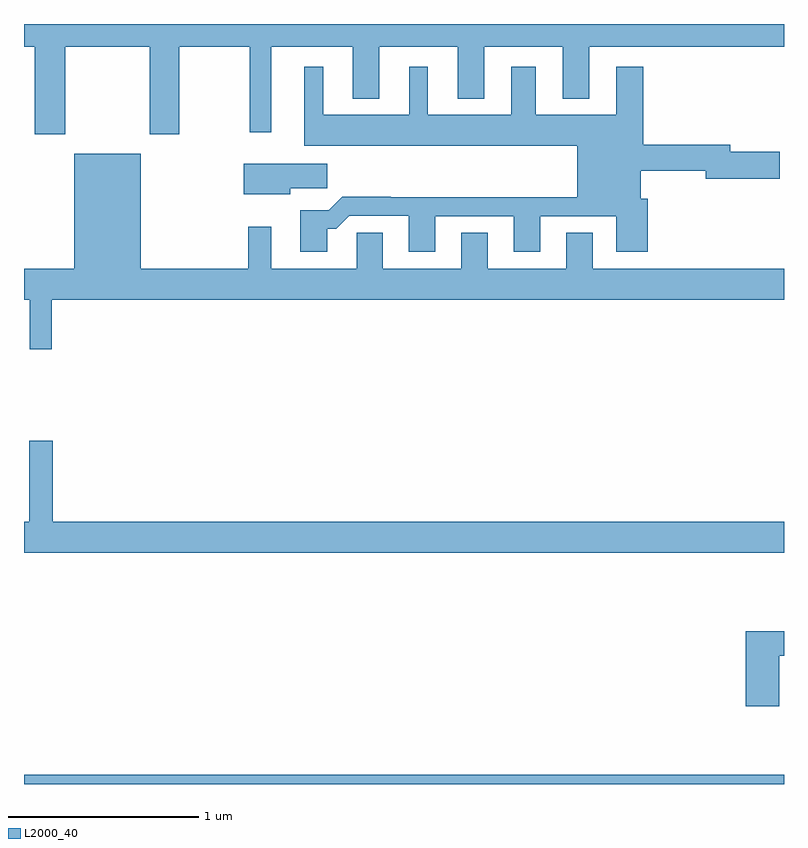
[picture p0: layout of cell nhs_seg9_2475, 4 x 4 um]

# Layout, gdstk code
import gdstk
lib = gdstk.Library(unit=1e-6, precision=1e-09)
def R(c, l, rs):  # rectangles x0, y0, x1, y1
    for r in rs: c.add(gdstk.rectangle(r[:2], r[2:], *l))
def P(c, l, *ps):  # polygons
    for p in ps: c.add(gdstk.Polygon(p, *l))
L2000_40 = (2000, 40)

nhs_seg9_2475 = lib.new_cell('nhs_seg9_2475')
R(nhs_seg9_2475, L2000_40, [(251,1232.5,255,1232.548)])
P(nhs_seg9_2475, L2000_40, [(251.217,1236.38),(251.662,1236.38),(251.662,1235.919),(251.817,1235.919),(251.817,1236.38),(252.187,1236.38),(252.187,1235.931),(252.301,1235.931),(252.301,1236.38),(252.731,1236.38),(252.731,1236.107),(252.871,1236.107),(252.871,1236.38),(253.283,1236.38),(253.283,1236.107),(253.423,1236.107),(253.423,1236.38),(253.835,1236.38),(253.835,1236.107),(253.975,1236.107),(253.975,1236.38),(255,1236.38),(255,1236.5),(251,1236.5),(251,1236.38),(251.057,1236.38),(251.057,1235.919),(251.217,1235.919)],
  [(252.595,1235.423),(252.644,1235.423),(252.711,1235.49),(253.025,1235.49),(253.025,1235.301),(253.165,1235.301),(253.165,1235.487),(253.577,1235.487),(253.577,1235.301),(253.717,1235.301),(253.717,1235.487),(254.117,1235.487),(254.117,1235.301),(254.282,1235.301),(254.282,1235.58),(254.245,1235.58),(254.245,1235.728),(254.588,1235.728),(254.588,1235.686),(254.977,1235.686),(254.977,1235.828),(254.716,1235.828),(254.716,1235.864),(254.258,1235.864),(254.258,1236.274),(254.117,1236.274),(254.117,1236.022),(253.693,1236.022),(253.693,1236.274),(253.565,1236.274),(253.565,1236.022),(253.126,1236.022),(253.126,1236.274),(253.028,1236.274),(253.028,1236.022),(252.574,1236.022),(252.574,1236.274),(252.476,1236.274),(252.476,1235.858),(253.913,1235.858),(253.913,1235.588),(252.929,1235.588),(252.929,1235.591),(252.674,1235.591),(252.604,1235.521),(252.455,1235.521),(252.455,1235.301),(252.595,1235.301)],
  [(252.4,1235.635),(252.595,1235.635),(252.595,1235.764),(252.156,1235.764),(252.156,1235.603),(252.4,1235.603)],
  [(253.853,1235.402),(253.853,1235.212),(253.441,1235.212),(253.441,1235.402),(253.301,1235.402),(253.301,1235.212),(252.889,1235.212),(252.889,1235.402),(252.75,1235.402),(252.75,1235.212),(252.301,1235.212),(252.301,1235.434),(252.18,1235.434),(252.18,1235.212),(251.614,1235.212),(251.614,1235.818),(251.264,1235.818),(251.264,1235.212),(251,1235.212),(251,1235.048),(251.031,1235.048),(251.031,1234.788),(251.147,1234.788),(251.147,1235.048),(255,1235.048),(255,1235.212),(253.993,1235.212),(253.993,1235.402)],
  [(255,1233.88),(251.15,1233.88),(251.15,1234.306),(251.027,1234.306),(251.027,1233.88),(251,1233.88),(251,1233.716),(255,1233.716)],
  [(254.976,1233.175),(255,1233.175),(255,1233.304),(254.798,1233.304),(254.798,1232.91),(254.976,1232.91)])

lib.write_gds('nhs_seg9_2475.gds')
